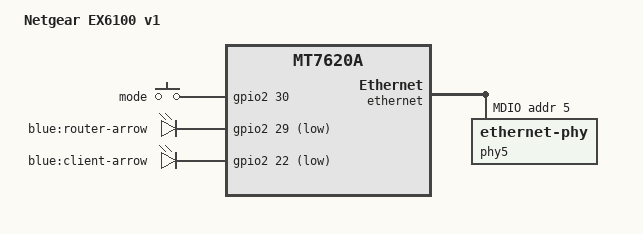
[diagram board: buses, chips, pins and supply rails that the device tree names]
// SPDX-License-Identifier: GPL-2.0-or-later OR MIT

#include "mt7620a_netgear_ex3x00_ex61xx.dtsi"

/ {
	compatible = "netgear,ex6100-v1", "ralink,mt7620a-soc";
	model = "Netgear EX6100 v1";

	aliases {
		label-mac-device = &ethernet;
	};
};

&keys {
	mode {
		label = "mode";
		linux,code = <BTN_0>;
		linux,input-type = <EV_SW>;
		gpios = <&gpio2 30 GPIO_ACTIVE_HIGH>;
	};
};

&leds {
	router_arrow {
		label = "blue:router-arrow";
		gpios = <&gpio2 29 GPIO_ACTIVE_LOW>;
	};

	client_arrow {
		label = "blue:client-arrow";
		gpios = <&gpio2 22 GPIO_ACTIVE_LOW>;
	};
};

&ethernet {
	pinctrl-names = "default";
	pinctrl-0 = <&rgmii1_pins &mdio_pins>;

	port@5 {
		status = "okay";
		phy-handle = <&phy5>;
		phy-mode = "rgmii";
	};

	mdio-bus {
		status = "okay";

		phy5: ethernet-phy@5 {
			reg = <5>;
			phy-mode = "rgmii";
		};
	};
};

&gsw {
	mediatek,port5 = "gmac";
};
